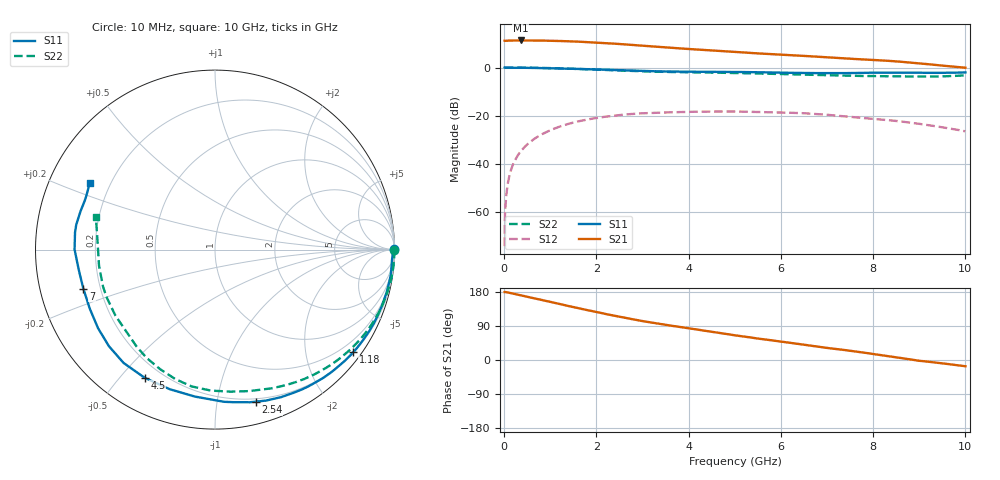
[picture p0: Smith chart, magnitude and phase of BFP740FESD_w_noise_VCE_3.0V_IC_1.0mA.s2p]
! Infineon Technologies  Discrete & RF Semiconductors
! BFP740FESD
! VCE =  3.0 V,  IC =  1.0 mA
! Common Emitter S-Parameters:  Jan 2016
# GHz  S  MA  R  50
!  f  S11  S21  S12  S22
! GHz  MAG  ANG  MAG  ANG  MAG  ANG  MAG  ANG
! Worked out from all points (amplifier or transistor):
!   233 points, 10 MHz to 10 GHz, reference 50 ohm
!   highest |S21| = 11.2 dB at 360 MHz (marker M1)
!   |S21| within 3 dB of that: start of sweep to 3.585 GHz
!   unconditionally stable (mu >= 1): 8.852 GHz to end of sweep
!   at 200 MHz: K = 0.00, MSG = 25.5 dB, |S12| = -39.8 dB
!   at 1.74 GHz: K = 0.09, MSG = 16.2 dB, |S12| = -21.8 dB
!   at 10 GHz: K = 1.66, MAG = 8.4 dB, |S12| = -26.4 dB
!   lowest NFmin = 0.46 dB at 450 MHz
!   S11 on the Smith chart (normalised r, x): 10 MHz: open; 1.18 GHz: 0.21, -3.01; 2.54 GHz: 0.17, -1.29; 4.5 GHz: 0.14, -0.58; 7 GHz: 0.14, -0.14; 10 GHz: 0.12, +0.25
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0.01  1 0.2  3.596 179.5  0.0002 70.6  0.9979 0.0
0.015  0.995 -0.2  3.581 179.6  0.0006 86.5  0.9986 -0.3
0.02  0.99 -0.6  3.566 179.7  0.001 89.6  0.9994 -0.5
0.045  0.9901 -1.4  3.574 178.9  0.0022 84.1  0.9992 -1.0
0.08  0.9888 -2.4  3.593 178.2  0.004 86.7  0.9993 -1.8
0.18  0.9881 -5.6  3.619 175.6  0.0092 85.9  0.9988 -4.1
0.36  0.9866 -11.1  3.632 170.8  0.0184 81.7  0.9961 -8.2
0.7  0.9785 -21.7  3.623 161.6  0.0356 73.7  0.9863 -16.1
1.18  0.9595 -36.6  3.544 148.5  0.0587 62.1  0.9625 -27.3
1.68  0.9308 -51.5  3.402 134.8  0.0794 49.8  0.9284 -39.0
2.2  0.9007 -65.9  3.199 121.5  0.096 38.1  0.8908 -50.9
2.54  0.8775 -75.0  3.047 113.3  0.1046 30.8  0.8654 -58.4
3  0.8495 -86.6  2.832 102.7  0.1128 21.4  0.8348 -67.8
3.4  0.8285 -95.5  2.646 94.8  0.1164 14.4  0.8143 -74.6
4.5  0.8145 -118.8  2.268 74.4  0.1234 -2.3  0.7859 -91.7
5.1  0.8074 -130.6  2.076 63.6  0.1225 -11.5  0.7685 -101.1
6  0.7851 -146.1  1.849 48.6  0.1177 -24.3  0.7331 -114.6
6.8  0.7655 -160.0  1.67 35.4  0.1081 -35.5  0.7008 -126.3
7  0.7651 -163.5  1.628 31.9  0.1051 -38.4  0.6942 -129.1
8.4  0.7857 173.0  1.361 8.8  0.08 -52.4  0.6597 -156.6
9  0.7792 164.1  1.222 -2.1  0.0682 -58.3  0.6524 -172.1
10  0.7906 152.0  0.99 -16.5  0.0478 -62.0  0.6886 164.6
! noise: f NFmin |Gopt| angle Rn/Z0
0.45  0.46  0.83  8  0.43
2.4  0.9  0.62  51  0.38
5.5  1.25  0.67  126  0.17
10  2.91  0.64  -148  0.23
